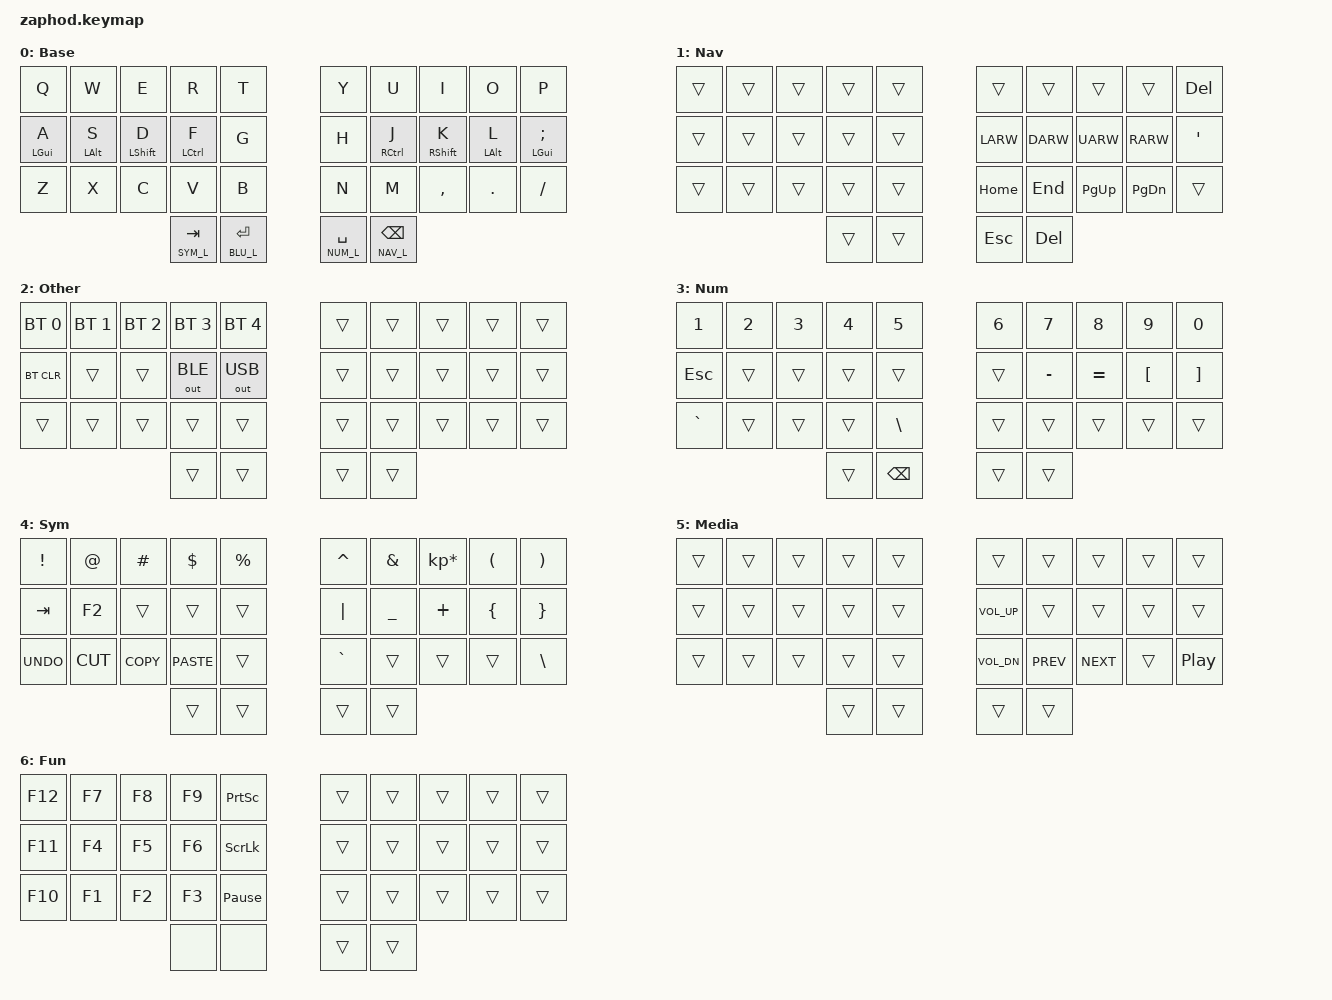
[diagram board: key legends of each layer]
/*
 * Copyright (c) 2021 Pete Johanson
 *
 * SPDX-License-Identifier: MIT
 * 
 * proprietarypenguin fork 
 *
 */

#include <behaviors.dtsi>
#include <dt-bindings/zmk/keys.h>
#include <dt-bindings/zmk/bt.h>
#include <dt-bindings/zmk/outputs.h>

#define NAV_L 1
#define BLU_L 2
#define NUM_L 3
#define SYM_L 4
#define MED_L 5
#define FUN_L 6

// / { 
//    conditional_layers {
//    	compatible = "zmk,conditional-layers";
//	tri_layer {
//		if-layers = <1 2>;
//		then-layer = <3>;
//		};
//    	};
// };

&mt {
    tapping-term-ms = <250>;
};

// Using layer taps on thumbs, having quick tap as well helps w/ repeating space/backspace
&lt { quick_tap_ms = <200>; };

/ {
    combos {
        compatible = "zmk,combos";

        combo-fn {
	    timeout-ms = <50>;
            key-positions = <30 31>;
            bindings = <&mo FUN_L>;
        };

        combo-media {
	    timeout-ms = <50>;
            key-positions = <32 33>;
            bindings = <&mo MED_L>;
        };

	combo-capsword {
	    timeout-ms = <50>;
	    key-positions = <20 21 22>;
	    bindings = <&caps_word>;
	};

	combo-apos {
	    timeout-ms = <50>;
	    key-positions = <18 19>;
	    bindings = <&kp APOS>;
	};

    };

    behaviors {
        hm: homerow_mods {
            compatible = "zmk,behavior-hold-tap";
            label = "homerow mods";
            #binding-cells = <2>;
            tapping_term_ms = <200>;
	    quick-tap-ms = <50>;
            flavor = "tap-preferred";
            bindings = <&kp>, <&kp>;
        };
    };

    keymap {
        compatible = "zmk,keymap";

        default_layer {
            label = "Base";
            bindings = <
                &kp Q      &kp W      &kp E       &kp R          &kp T         &kp Y            &kp U          &kp I       &kp O      &kp P
                &hm LGUI A &hm LALT S &hm LSHFT D &hm LCTRL F    &kp G         &kp H            &hm RCTRL J    &hm RSHFT K &hm LALT L &hm LGUI SEMI
                &kp Z      &kp X      &kp C       &kp V          &kp B         &kp N            &kp M          &kp COMMA   &kp DOT    &kp FSLH
                                                  &lt SYM_L TAB  &lt BLU_L RET &lt NUM_L SPACE  &lt NAV_L BKSP
            >;
        };

	// NAV_L, 1
        nav_layer {
            label = "Nav";
            bindings = <
                &trans     &trans     &trans      &trans          &trans       &trans           &trans         &trans      &trans      &kp DEL
                &trans     &trans     &trans      &trans          &trans       &kp LARW         &kp DARW       &kp UARW    &kp RARW    &kp APOS
                &trans     &trans     &trans      &trans          &trans       &kp HOME         &kp END        &kp PG_UP   &kp PG_DN   &trans
                                                  &trans          &trans       &kp ESC          &kp DEL
            >;
        };

	// BLU_L, 2
        blue_layer {
            label = "Other";
            bindings = <
                &bt BT_SEL 0 &bt BT_SEL 1   &bt BT_SEL 2  &bt BT_SEL 3 &bt BT_SEL 4	        &trans &trans &trans &trans &trans
                &bt BT_CLR &trans &trans &out OUT_BLE &out OUT_USB       		&trans      &trans      &trans      &trans      &trans
                &trans       &trans     &trans      &trans          &trans       		&trans 	    &trans	&trans	    &trans	&trans
                                                    &trans          &trans       		&trans      &trans
            >;
        };

	// NUM_L, 3
        num_layer {
            label = "Num";
            bindings = <
                &kp N1     &kp N2     &kp N3      &kp N4          &kp N5        &kp N6          &kp N7         &kp N8      &kp N9     &kp N0
                &kp ESC    &trans     &trans      &trans          &trans        &trans          &kp MINUS      &kp EQUAL   &kp LBKT   &kp RBKT
                &kp GRAVE  &trans     &trans      &trans          &kp BSLH      &trans          &trans         &trans      &trans     &trans
                                                  &trans          &kp BKSP      &trans          &trans
            >;
        };

	// SYM_L, 4
        sym_layer {
            label = "Sym";
            bindings = <
                &kp EXCL     &kp AT  &kp HASH  &kp DLLR  &kp PRCNT       &kp CARET &kp AMPS   &kp KP_MULTIPLY    &kp LPAR    &kp RPAR
                &kp TAB    &kp F2  &trans 	&trans	&trans       &kp PIPE &kp UNDER   &kp PLUS    &kp LBRC   &kp RBRC
                &kp K_UNDO   &kp K_CUT   &kp K_COPY  &kp K_PASTE &trans         &kp GRAVE &trans   &trans    &trans    &kp BSLH
                                                     &trans      &trans         &trans &trans
            >;
        };

	// MED_L, 5
        media_layer {
            label = "Media";
            bindings = <
                &trans	   &trans     &trans      &trans          &trans       &trans         &trans        &trans       &trans    &trans
                &trans     &trans     &trans      &trans          &trans       &kp C_VOL_UP   &trans	    &trans	 &trans    &trans
                &trans     &trans     &trans      &trans          &trans       &kp C_VOL_DN   &kp C_PREV    &kp C_NEXT   &trans    &kp C_PP
                                                  &trans          &trans       &trans     &trans
            >;
        };

	// FUN_L, 6
        fun_layer {
            label = "Fun";
            bindings = <
                &kp F12     &kp F7     &kp F8      &kp F9     &kp PSCRN         &trans          &trans         &trans      &trans     &trans
                &kp F11     &kp F4     &kp F5      &kp F6     &kp SLCK          &trans          &trans         &trans      &trans     &trans
                &kp F10     &kp F1     &kp F2      &kp F3     &kp PAUSE_BREAK   &trans          &trans         &trans      &trans     &trans
                                                   &none      &none             &trans          &trans
            >;
        };
    };
};

